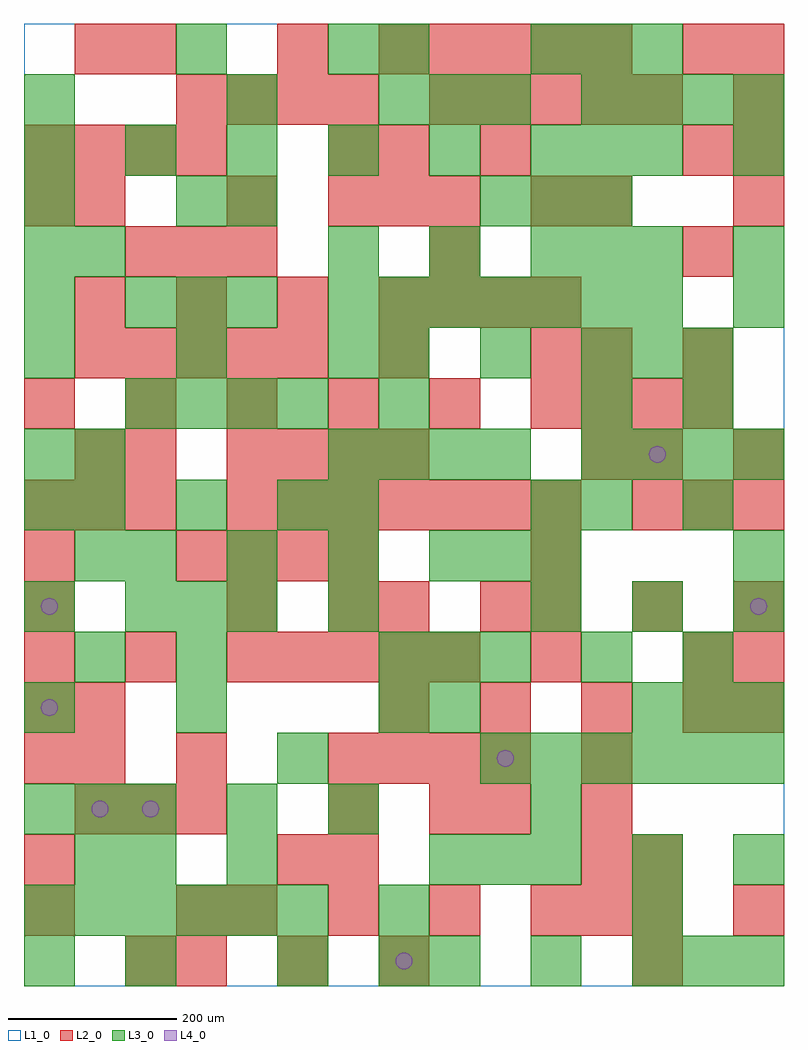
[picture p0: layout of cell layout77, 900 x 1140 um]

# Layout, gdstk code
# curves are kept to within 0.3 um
import gdstk
lib = gdstk.Library(unit=1e-6, precision=1e-09)
def R(c, l, rs):  # rectangles x0, y0, x1, y1
    for r in rs: c.add(gdstk.rectangle(r[:2], r[2:], *l))
def A(c, l, x, y, w, h, nx, ny, dx, dy):  # array of equal rectangles
    R(c, l, [(x+i*dx, y+j*dy, x+i*dx+w, y+j*dy+h) for i in range(nx) for j in range(ny)])
def P(c, l, *ps):  # polygons
    for p in ps: c.add(gdstk.Polygon(p, *l))
L1_0 = (1, 0)
L2_0 = (2, 0)
L3_0 = (3, 0)
L4_0 = (4, 0)

layout77 = lib.new_cell('layout77')
R(layout77, L1_0, [(0,0,900,1140)])
A(layout77, L2_0, 180, 0, 60, 60, 3, 1, 120, 0)
A(layout77, L2_0, 720, 0, 60, 60, 1, 3, 0, 60)
A(layout77, L2_0, 240, 60, 60, 60, 4, 1, 120, 0)
A(layout77, L2_0, 660, 60, 60, 60, 1, 4, 0, 60)
A(layout77, L2_0, 60, 180, 60, 60, 3, 1, 60, 0)
A(layout77, L2_0, 360, 240, 60, 60, 4, 1, 60, 0)
A(layout77, L2_0, 60, 300, 60, 60, 1, 3, 0, 300)
A(layout77, L2_0, 420, 300, 60, 60, 4, 1, 120, 0)
A(layout77, L2_0, 0, 360, 60, 60, 3, 1, 120, 0)
A(layout77, L2_0, 300, 360, 60, 60, 4, 1, 60, 0)
A(layout77, L2_0, 600, 420, 60, 60, 3, 1, 120, 0)
A(layout77, L2_0, 180, 480, 60, 60, 4, 2, 60, 540)
A(layout77, L2_0, 0, 540, 60, 60, 3, 1, 60, 0)
A(layout77, L2_0, 240, 540, 60, 60, 7, 1, 60, 0)
A(layout77, L2_0, 720, 540, 60, 60, 3, 1, 60, 0)
A(layout77, L2_0, 240, 600, 60, 60, 4, 1, 60, 0)
A(layout77, L2_0, 0, 660, 60, 60, 6, 1, 120, 0)
A(layout77, L2_0, 660, 660, 60, 60, 3, 1, 60, 0)
A(layout77, L2_0, 60, 720, 60, 60, 5, 1, 60, 0)
A(layout77, L2_0, 780, 720, 60, 60, 1, 4, 0, 120)
A(layout77, L2_0, 60, 780, 60, 60, 4, 1, 120, 0)
A(layout77, L2_0, 480, 780, 60, 60, 3, 1, 60, 0)
A(layout77, L2_0, 120, 840, 60, 60, 3, 1, 60, 0)
A(layout77, L2_0, 360, 900, 60, 60, 3, 1, 60, 0)
A(layout77, L2_0, 840, 900, 60, 60, 1, 4, 0, 60)
A(layout77, L2_0, 0, 960, 60, 60, 4, 1, 60, 0)
A(layout77, L2_0, 480, 1020, 60, 60, 5, 1, 60, 0)
A(layout77, L2_0, 420, 1080, 60, 60, 5, 1, 60, 0)
R(layout77, L2_0, [(120,0,180,60), (0,60,60,120), (180,60,240,120), (840,60,900,120), (0,120,60,180), (300,120,360,180), (360,120,420,180), (360,180,420,240), (480,180,540,240), (540,180,600,240), (0,240,60,300), (60,240,120,300), (180,240,240,300), (0,300,60,360), (840,300,900,360), (600,360,660,420), (780,360,840,420), (840,360,900,420), (0,420,60,480), (240,420,300,480), (360,420,420,480), (420,420,480,480), (540,420,600,480), (0,480,60,540), (600,480,660,540), (120,600,180,660), (660,600,720,660), (720,600,780,660), (840,600,900,660), (420,720,480,780), (600,720,660,780), (660,720,720,780), (480,840,540,900), (0,900,60,960), (240,900,300,960), (600,900,660,960), (660,900,720,960), (360,960,420,1020), (420,960,480,1020), (540,960,600,1020), (60,1080,120,1140), (120,1080,180,1140), (300,1080,360,1140)])
A(layout77, L3_0, 480, 0, 60, 60, 3, 1, 120, 0)
A(layout77, L3_0, 0, 60, 60, 60, 6, 1, 60, 0)
A(layout77, L3_0, 480, 120, 60, 60, 3, 1, 60, 0)
A(layout77, L3_0, 0, 180, 60, 60, 3, 1, 60, 0)
A(layout77, L3_0, 540, 240, 60, 60, 6, 1, 60, 0)
A(layout77, L3_0, 0, 300, 60, 60, 1, 3, 0, 120)
A(layout77, L3_0, 720, 300, 60, 60, 3, 1, 60, 0)
A(layout77, L3_0, 60, 360, 60, 60, 1, 3, 0, 120)
A(layout77, L3_0, 420, 360, 60, 60, 3, 2, 60, 660)
A(layout77, L3_0, 120, 420, 60, 60, 3, 2, 60, 360)
A(layout77, L3_0, 600, 420, 60, 60, 3, 1, 120, 0)
A(layout77, L3_0, 120, 480, 60, 60, 4, 1, 120, 0)
A(layout77, L3_0, 60, 540, 60, 60, 3, 1, 120, 0)
A(layout77, L3_0, 360, 600, 60, 60, 4, 1, 60, 0)
A(layout77, L3_0, 660, 600, 60, 60, 4, 2, 60, 420)
A(layout77, L3_0, 120, 660, 60, 60, 4, 1, 60, 0)
A(layout77, L3_0, 0, 720, 60, 60, 3, 1, 180, 0)
A(layout77, L3_0, 420, 720, 60, 60, 3, 1, 120, 0)
A(layout77, L3_0, 720, 720, 60, 60, 1, 3, 0, 120)
A(layout77, L3_0, 0, 780, 60, 60, 1, 3, 0, 60)
A(layout77, L3_0, 360, 780, 60, 60, 7, 1, 60, 0)
A(layout77, L3_0, 360, 840, 60, 60, 3, 1, 120, 0)
A(layout77, L3_0, 540, 900, 60, 60, 3, 1, 60, 0)
A(layout77, L3_0, 0, 960, 60, 60, 6, 1, 120, 0)
A(layout77, L3_0, 600, 1080, 60, 60, 3, 1, 60, 0)
R(layout77, L3_0, [(0,0,60,60), (120,0,180,60), (300,0,360,60), (420,0,480,60), (780,0,840,60), (840,0,900,60), (420,60,480,120), (720,60,780,120), (60,120,120,180), (120,120,180,180), (240,120,300,180), (720,120,780,180), (840,120,900,180), (240,180,300,240), (360,180,420,240), (600,180,660,240), (300,240,360,300), (180,300,240,360), (420,300,480,360), (480,300,540,360), (180,360,240,420), (660,360,720,420), (780,360,840,420), (360,420,420,480), (540,480,600,540), (600,480,660,540), (840,480,900,540), (360,540,420,600), (600,540,660,600), (660,540,720,600), (780,540,840,600), (0,600,60,660), (420,660,480,720), (660,660,720,720), (780,660,840,720), (780,720,840,780), (840,780,900,840), (60,840,120,900), (660,840,720,900), (840,840,900,900), (180,900,240,960), (240,900,300,960), (660,960,720,1020), (840,960,900,1020), (0,1020,60,1080), (240,1020,300,1080), (180,1080,240,1140), (360,1080,420,1140), (420,1080,480,1140)])
P(layout77, L4_0, [(40,330),(39.239,333.827),(37.071,337.071),(33.827,339.239),(30,340),(26.173,339.239),(22.929,337.071),(20.761,333.827),(20,330),(20.761,326.173),(22.929,322.929),(26.173,320.761),(30,320),(33.827,320.761),(37.071,322.929),(39.239,326.173)],
  [(40,450),(39.239,453.827),(37.071,457.071),(33.827,459.239),(30,460),(26.173,459.239),(22.929,457.071),(20.761,453.827),(20,450),(20.761,446.173),(22.929,442.929),(26.173,440.761),(30,440),(33.827,440.761),(37.071,442.929),(39.239,446.173)],
  [(100,210),(99.239,213.827),(97.071,217.071),(93.827,219.239),(90,220),(86.173,219.239),(82.929,217.071),(80.761,213.827),(80,210),(80.761,206.173),(82.929,202.929),(86.173,200.761),(90,200),(93.827,200.761),(97.071,202.929),(99.239,206.173)],
  [(160,210),(159.239,213.827),(157.071,217.071),(153.827,219.239),(150,220),(146.173,219.239),(142.929,217.071),(140.761,213.827),(140,210),(140.761,206.173),(142.929,202.929),(146.173,200.761),(150,200),(153.827,200.761),(157.071,202.929),(159.239,206.173)],
  [(460,30),(459.239,33.827),(457.071,37.071),(453.827,39.239),(450,40),(446.173,39.239),(442.929,37.071),(440.761,33.827),(440,30),(440.761,26.173),(442.929,22.929),(446.173,20.761),(450,20),(453.827,20.761),(457.071,22.929),(459.239,26.173)],
  [(580,270),(579.239,273.827),(577.071,277.071),(573.827,279.239),(570,280),(566.173,279.239),(562.929,277.071),(560.761,273.827),(560,270),(560.761,266.173),(562.929,262.929),(566.173,260.761),(570,260),(573.827,260.761),(577.071,262.929),(579.239,266.173)],
  [(760,630),(759.239,633.827),(757.071,637.071),(753.827,639.239),(750,640),(746.173,639.239),(742.929,637.071),(740.761,633.827),(740,630),(740.761,626.173),(742.929,622.929),(746.173,620.761),(750,620),(753.827,620.761),(757.071,622.929),(759.239,626.173)],
  [(880,450),(879.239,453.827),(877.071,457.071),(873.827,459.239),(870,460),(866.173,459.239),(862.929,457.071),(860.761,453.827),(860,450),(860.761,446.173),(862.929,442.929),(866.173,440.761),(870,440),(873.827,440.761),(877.071,442.929),(879.239,446.173)])

lib.write_gds('layout77.gds')
